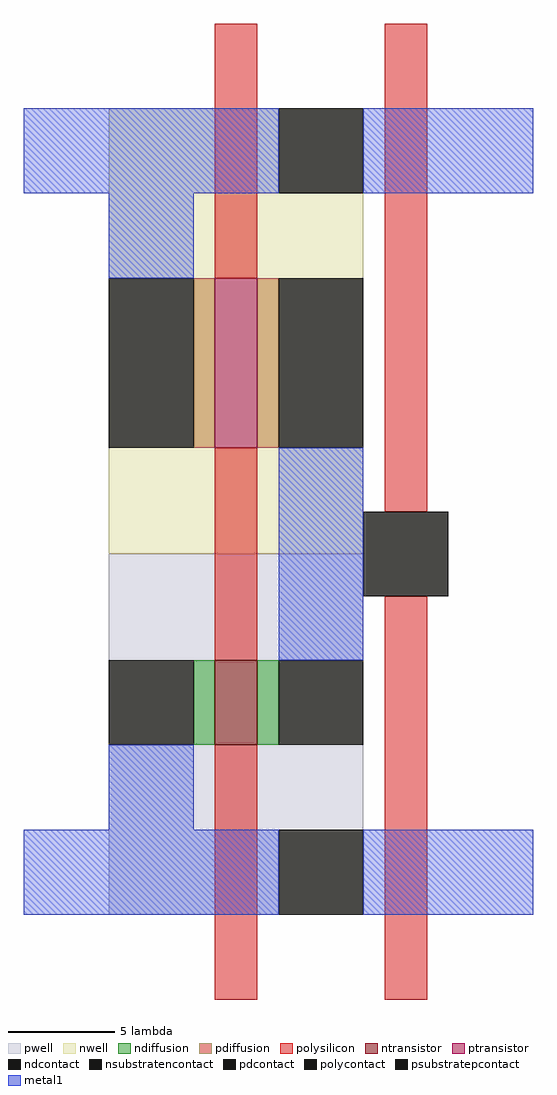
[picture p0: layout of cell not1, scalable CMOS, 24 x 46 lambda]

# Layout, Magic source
magic
tech scmos
<< pwell >>
rect 17 -2 29 15
<< nwell >>
rect 17 15 29 36
<< polysilicon >>
rect 22 28 24 40
rect 22 10 24 20
rect 30 17 32 40
rect 22 -6 24 6
rect 30 -6 32 13
<< ndiffusion >>
rect 21 6 22 10
rect 24 6 25 10
<< pdiffusion >>
rect 21 20 22 28
rect 24 20 25 28
<< metal1 >>
rect 13 32 25 36
rect 29 32 37 36
rect 17 28 21 32
rect 25 10 29 20
rect 17 2 21 6
rect 13 -2 25 2
rect 29 -2 37 2
<< ntransistor >>
rect 22 6 24 10
<< ptransistor >>
rect 22 20 24 28
<< polycontact >>
rect 29 13 33 17
<< ndcontact >>
rect 17 6 21 10
rect 25 6 29 10
<< pdcontact >>
rect 17 20 21 28
rect 25 20 29 28
<< psubstratepcontact >>
rect 25 -2 29 2
<< nsubstratencontact >>
rect 25 32 29 36
<< end >>
